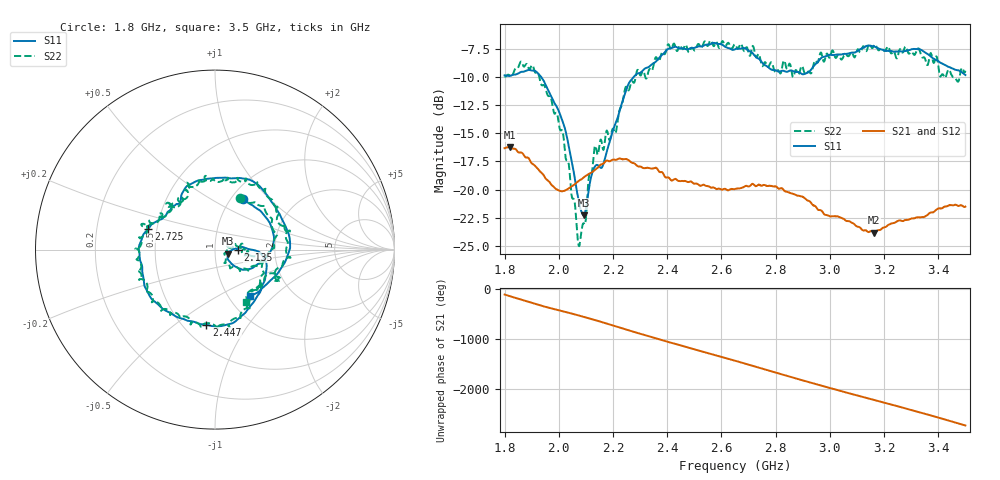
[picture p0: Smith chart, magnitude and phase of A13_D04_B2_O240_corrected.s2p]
! Created with skrf 1.9.0 (http://scikit-rf.org).
# Hz S RI R 50.0
!freq ReS11 ImS11 ReS21 ImS21 ReS12 ImS12 ReS22 ImS22
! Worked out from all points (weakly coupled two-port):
!   1601 points, 1.8 GHz to 3.5 GHz, reference 50 ohm
!   highest |S21| = -16.24 dB at 1.82 GHz (marker M1); lowest = -23.8 dB at 3.163 GHz (marker M2)
!   lowest |S11| = -22.3 dB at 2.092 GHz (marker M3), VSWR 1.17, Z = 57.9 - j2.62 ohm
!   |S11| at or under -10 dB: 1.935 GHz to 2.277 GHz (342.2 MHz wide, 16.3 % of centre)
!   |S22| runs from -25.0 to -6.8 dB; largest |S21 - S12| = 0.0025
!   S11 on the Smith chart (normalised r, x): 1.8 GHz: 1.13, +0.71; 2.135 GHz: 1.29, +0.00; 2.447 GHz: 0.64, -0.66; 2.725 GHz: 0.45, +0.12; 3.5 GHz: 1.25, -0.72
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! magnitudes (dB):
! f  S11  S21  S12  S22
! 1.8 GHz  -9.9  -16.3  -16.3  -9.9
! 1.82 GHz  -9.9  -16.2  -16.3  -9.9
! 1.902 GHz  -9.4  -17.7  -17.6  -9.0
! 1.968 GHz  -11.5  -19.4  -19.4  -11.7
! 2.023 GHz  -14.6  -20.1  -20.1  -16.8
! 2.071 GHz  -20.7  -19.3  -19.3  -24.7
! 2.084 GHz  -22.0  -19.1  -19.0  -23.6
! 2.092 GHz  -22.3  -18.9  -19.0  -23.0
! 2.135 GHz  -17.9  -18.2  -18.2  -16.1
! 2.164 GHz  -17.7  -17.7  -17.6  -16.5
! 2.209 GHz  -14.1  -17.4  -17.3  -15.0
! 2.261 GHz  -10.5  -17.5  -17.5  -11.0
! 2.367 GHz  -8.4  -18.3  -18.3  -8.6
! 2.447 GHz  -7.5  -19.3  -19.2  -7.2
! 2.65 GHz  -7.6  -19.9  -19.9  -7.1
! 2.725 GHz  -8.2  -19.7  -19.7  -8.1
! 2.803 GHz  -9.5  -19.7  -19.8  -9.5
! 2.934 GHz  -9.3  -21.3  -21.2  -9.6
! 3.163 GHz  -7.3  -23.8  -23.8  -7.2
! 3.217 GHz  -7.7  -23.1  -23.1  -7.4
! 3.468 GHz  -9.4  -21.4  -21.4  -10.3
! 3.5 GHz  -9.8  -21.5  -21.5  -9.5
